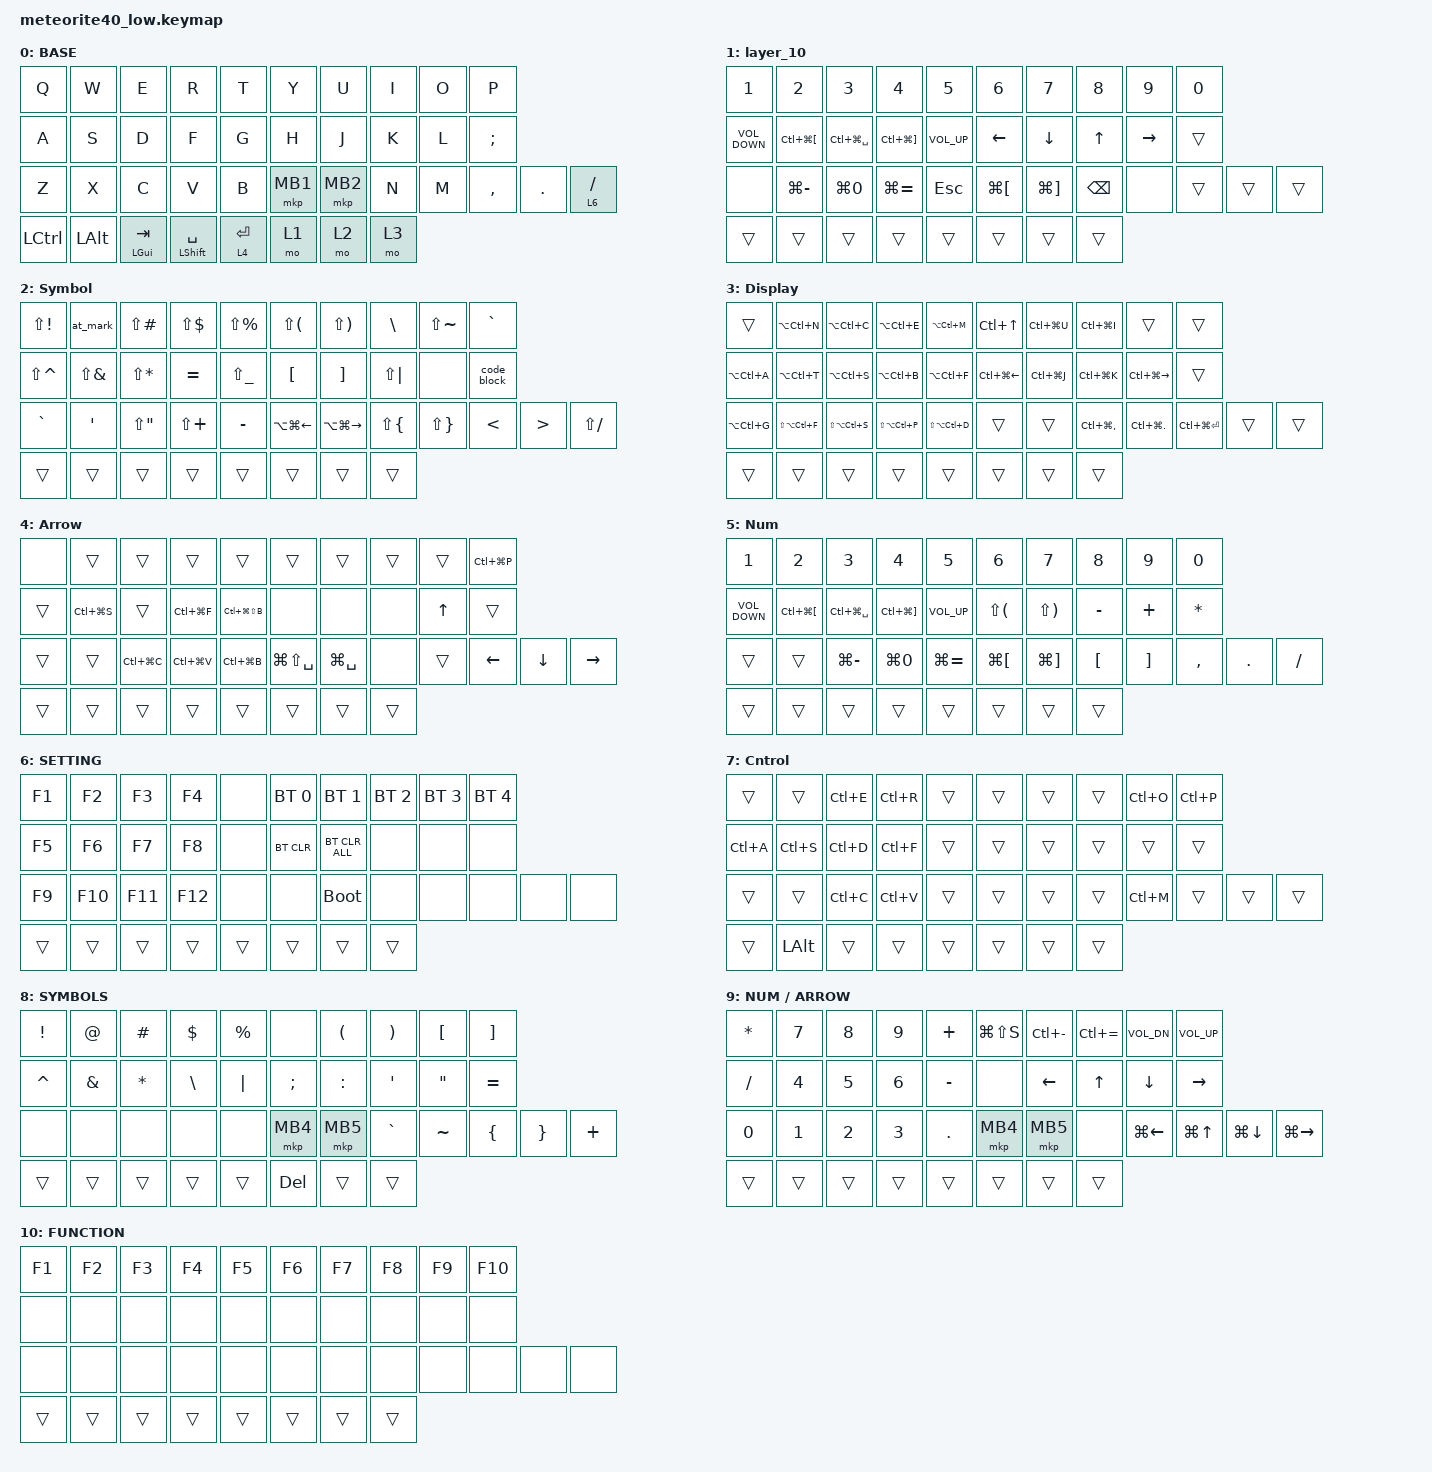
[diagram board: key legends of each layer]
#include <behaviors.dtsi>
#include <dt-bindings/zmk/bt.h>
#include <dt-bindings/zmk/keys.h>
#include <dt-bindings/zmk/pointing.h>

#include <behaviors/custom_config.dtsi>
#include <dt-bindings/zmk/custom_config.h>

&mt {
    flavor = "tap-preferred"; // change hold to tap
    tapping-term-ms = <200>;
    quick-tap-ms = <150>; // change 200 to 150
};

&lt {
    flavor = "tap-preferred";
    tapping-term-ms = <150>; // change 200 to 150
    quick-tap-ms = <150>; // change 200 to 150
};

/ {
    combos {
        compatible = "zmk,combos";

        change_ime {
            bindings = <&kp LC(SPACE)>;
            key-positions = <16 17>;
        };
    };

    macros {
        at_mark: at_mark {
            compatible = "zmk,behavior-macro";
            #binding-cells = <0>;
            bindings = <&kp LANGUAGE_2 &kp AT>;
            label = "AT_MARK";
        };

        code_block: code_block {
            compatible = "zmk,behavior-macro";
            #binding-cells = <0>;
            bindings = <&kp LANGUAGE_2 &kp GRAVE &kp GRAVE &kp GRAVE>;
            label = "CODE_BLOCK";
        };
    };

    keymap {
        compatible = "zmk,keymap";
        layout = &LOW_PROFILE_DEFAULT;

        default_layer {
            display-name = "BASE";
            bindings = <
&kp Q             &kp W         &kp E             &kp R             &kp T        &kp Y     &kp U     &kp I  &kp O  &kp P
&kp A             &kp S         &kp D             &kp F             &kp G        &kp H     &kp J     &kp K  &kp L  &kp SEMICOLON
&kp Z             &kp X         &kp C             &kp V             &kp B        &mkp MB1  &mkp MB2  &kp N  &kp M  &kp COMMA      &kp DOT  &lt 6 SLASH
&kp LEFT_CONTROL  &kp LEFT_ALT  &mt LEFT_GUI TAB  &mt LSHIFT SPACE  &lt 4 ENTER  &mo 1     &mo 2     &mo 3
            >;
        };

        layer_10 {
            bindings = <
&kp N1             &kp N2                    &kp N3             &kp N4                     &kp N5           &kp N6                &kp N7                 &kp N8    &kp N9     &kp N0
&kp C_VOLUME_DOWN  &kp LC(LG(LEFT_BRACKET))  &kp LC(LG(SPACE))  &kp LC(LG(RIGHT_BRACKET))  &kp C_VOLUME_UP  &kp LEFT              &kp DOWN               &kp UP    &kp RIGHT  &trans
&none              &kp LG(MINUS)             &kp LG(N0)         &kp LG(EQUAL)              &kp ESC          &kp LG(LEFT_BRACKET)  &kp LG(RIGHT_BRACKET)  &kp BSPC  &none      &trans  &trans  &trans
&trans             &trans                    &trans             &trans                     &trans           &trans                &trans                 &trans
            >;
        };

        Symbol {
            bindings = <
&kp LS(EXCL)   &at_mark      &kp LS(POUND)  &kp LS(DLLR)  &kp LS(PRCNT)  &kp LS(LPAR)            &kp LS(RPAR)             &kp BSLH      &kp LS(TILDE)  &kp GRAVE
&kp LS(CARET)  &kp LS(AMPS)  &kp LS(STAR)   &kp EQUAL     &kp LS(UNDER)  &kp LBKT                &kp RBKT                 &kp LS(PIPE)  &none          &code_block
&kp GRAVE      &kp SQT       &kp LS(DQT)    &kp LS(PLUS)  &kp MINUS      &kp LA(LG(LEFT_ARROW))  &kp LA(LG(RIGHT_ARROW))  &kp LS(LBRC)  &kp LS(RBRC)   &kp LESS_THAN  &kp GREATER_THAN  &kp LS(SLASH)
&trans         &trans        &trans         &trans        &trans         &trans                  &trans                   &trans
            >;
        };

        Display {
            bindings = <
&trans         &kp LA(LC(N))      &kp LA(LC(C))      &kp LA(LC(E))      &kp LA(LC(M))      &kp LC(UP_ARROW)        &kp LC(LG(U))  &kp LC(LG(I))      &trans              &trans
&kp LA(LC(A))  &kp LA(LC(T))      &kp LA(LC(S))      &kp LA(LC(B))      &kp LA(LC(F))      &kp LC(LG(LEFT_ARROW))  &kp LC(LG(J))  &kp LC(LG(K))      &kp LC(LG(RIGHT))   &trans
&kp LA(LC(G))  &kp LS(LA(LC(F)))  &kp LS(LA(LC(S)))  &kp LS(LA(LC(P)))  &kp LS(LA(LC(D)))  &trans                  &trans         &kp LC(LG(COMMA))  &kp LC(LG(PERIOD))  &kp LC(LG(ENTER))  &trans  &trans
&trans         &trans             &trans             &trans             &trans             &trans                  &trans         &trans
            >;
        };

        Arrow {
            bindings = <
&none   &trans         &trans         &trans         &trans             &trans             &trans         &trans  &trans        &kp LC(LG(P))
&trans  &kp LC(LG(S))  &trans         &kp LC(LG(F))  &kp LC(LG(LS(B)))  &none              &none          &none   &kp UP_ARROW  &trans
&trans  &trans         &kp LC(LG(C))  &kp LC(LG(V))  &kp LC(LG(B))      &kp LG(LS(SPACE))  &kp LG(SPACE)  &none   &trans        &kp LEFT_ARROW  &kp DOWN_ARROW  &kp RIGHT_ARROW
&trans  &trans         &trans         &trans         &trans             &trans             &trans         &trans
            >;
        };

        Num {
            bindings = <
&kp N1             &kp N2                    &kp N3             &kp N4                     &kp N5           &kp N6                &kp N7                 &kp N8            &kp N9             &kp N0
&kp C_VOLUME_DOWN  &kp LC(LG(LEFT_BRACKET))  &kp LC(LG(SPACE))  &kp LC(LG(RIGHT_BRACKET))  &kp C_VOLUME_UP  &kp LS(LPAR)          &kp LS(RPAR)           &kp MINUS         &kp PLUS           &kp ASTERISK
&trans             &trans                    &kp LG(MINUS)      &kp LG(NUMBER_0)           &kp LG(EQUAL)    &kp LG(LEFT_BRACKET)  &kp LG(RIGHT_BRACKET)  &kp LEFT_BRACKET  &kp RIGHT_BRACKET  &kp COMMA     &kp DOT  &kp FSLH
&trans             &trans                    &trans             &trans                     &trans           &trans                &trans                 &trans
            >;
        };

        Bluetooth {
            display-name = "SETTING";
            bindings = <
&kp F1  &kp F2   &kp F3   &kp F4   &none   &bt BT_SEL 0  &bt BT_SEL 1    &bt BT_SEL 2  &bt BT_SEL 3  &bt BT_SEL 4
&kp F5  &kp F6   &kp F7   &kp F8   &none   &bt BT_CLR    &bt BT_CLR_ALL  &none         &none         &none
&kp F9  &kp F10  &kp F11  &kp F12  &none   &none         &bootloader     &none         &none         &none         &none  &none
&trans  &trans   &trans   &trans   &trans  &trans        &trans          &trans
            >;
        };

        Cntrol {
            bindings = <
&trans     &trans        &kp LC(E)  &kp LC(R)  &trans  &trans  &trans  &trans  &kp LC(O)  &kp LC(P)
&kp LC(A)  &kp LC(S)     &kp LC(D)  &kp LC(F)  &trans  &trans  &trans  &trans  &trans     &trans
&trans     &trans        &kp LC(C)  &kp LC(V)  &trans  &trans  &trans  &trans  &kp LC(M)  &trans     &trans  &trans
&trans     &kp LEFT_ALT  &trans     &trans     &trans  &trans  &trans  &trans
            >;
        };

        layer_1 {
            display-name = "SYMBOLS";
            bindings = <
&kp EXCL   &kp AT    &kp HASH  &kp DLLR  &kp PRCNT  &none     &kp LPAR   &kp RPAR   &kp LBKT   &kp RBKT
&kp CARET  &kp AMPS  &kp STAR  &kp BSLH  &kp PIPE   &kp SEMI  &kp COLON  &kp SQT    &kp DQT    &kp EQUAL
&none      &none     &none     &none     &none      &mkp MB4  &mkp MB5   &kp GRAVE  &kp TILDE  &kp LBRC   &kp RBRC  &kp PLUS
&trans     &trans    &trans    &trans    &trans     &kp DEL   &trans     &trans
            >;
        };

        layer_2 {
            display-name = "NUM / ARROW";
            bindings = <
&kp ASTRK  &kp N7  &kp N8  &kp N9  &kp PLUS   &kp LG(LS(S))  &kp LC(MINUS)  &kp LC(EQUAL)  &kp C_VOL_DN  &kp C_VOL_UP
&kp SLASH  &kp N4  &kp N5  &kp N6  &kp MINUS  &none          &kp LEFT       &kp UP         &kp DOWN      &kp RIGHT
&kp N0     &kp N1  &kp N2  &kp N3  &kp DOT    &mkp MB4       &mkp MB5       &none          &kp LG(LEFT)  &kp LG(UP)    &kp LG(DOWN)  &kp LG(RIGHT)
&trans     &trans  &trans  &trans  &trans     &trans         &trans         &trans
            >;
        };

        layer_3 {
            display-name = "FUNCTION";
            bindings = <
&kp F1  &kp F2  &kp F3  &kp F4  &kp F5  &kp F6  &kp F7  &kp F8  &kp F9  &kp F10
&none   &none   &none   &none   &none   &none   &none   &none   &none   &none
&none   &none   &none   &none   &none   &none   &none   &none   &none   &none    &none  &none
&trans  &trans  &trans  &trans  &trans  &trans  &trans  &trans
            >;
        };
    };
};
